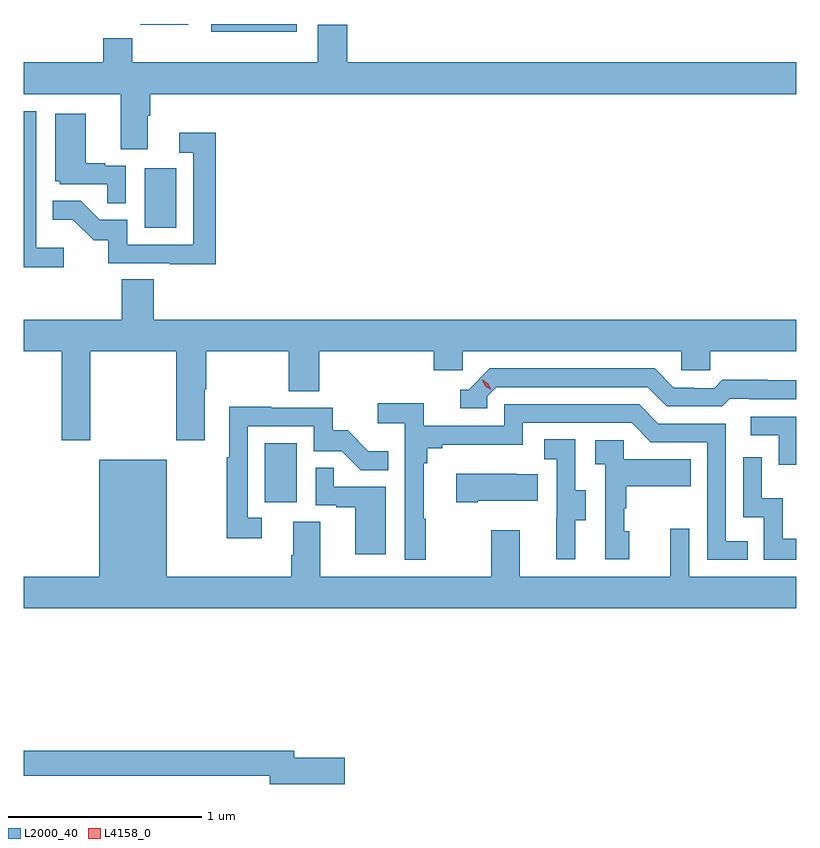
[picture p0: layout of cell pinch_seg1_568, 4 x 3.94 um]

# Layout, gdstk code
import gdstk
lib = gdstk.Library(unit=1e-6, precision=1e-09)
def R(c, l, rs):  # rectangles x0, y0, x1, y1
    for r in rs: c.add(gdstk.rectangle(r[:2], r[2:], *l))
def P(c, l, *ps):  # polygons
    for p in ps: c.add(gdstk.Polygon(p, *l))
L2000_40 = (2000, 40)
L4158_0 = (4158, 0)

pinch_seg1_568 = lib.new_cell('pinch_seg1_568')
R(pinch_seg1_568, L2000_40, [(1065.53,521.645,1065.694,521.953), (1064.906,523.068,1065.07,523.375), (1065.251,524.084,1065.694,524.123), (1064.884,524.118,1065.133,524.123)])
P(pinch_seg1_568, L2000_40, [(1064.923,523.648),(1064.936,523.648),(1064.936,523.76),(1068.281,523.76),(1068.281,523.924),(1065.956,523.924),(1065.956,524.119),(1065.803,524.119),(1065.803,523.924),(1064.843,523.924),(1064.843,524.048),(1064.692,524.048),(1064.692,523.924),(1064.281,523.924),(1064.281,523.76),(1064.783,523.76),(1064.783,523.474),(1064.923,523.474)],
  [(1064.488,522.964),(1064.346,522.964),(1064.346,523.672),(1064.281,523.672),(1064.281,522.862),(1064.488,522.862)],
  [(1064.808,523.389),(1064.702,523.389),(1064.702,523.402),(1064.602,523.402),(1064.602,523.657),(1064.444,523.657),(1064.444,523.308),(1064.466,523.308),(1064.466,523.293),(1064.713,523.293),(1064.713,523.195),(1064.808,523.195)],
  [(1065.275,523.561),(1065.087,523.561),(1065.087,523.455),(1065.159,523.455),(1065.159,522.981),(1064.817,522.981),(1064.817,523.11),(1064.673,523.11),(1064.575,523.208),(1064.431,523.208),(1064.431,523.109),(1064.535,523.109),(1064.642,523.002),(1064.719,523.002),(1064.719,522.885),(1065.037,522.885),(1065.037,522.88),(1065.275,522.88)],
  [(1064.625,522.428),(1065.07,522.428),(1065.07,521.967),(1065.217,521.967),(1065.217,522.232),(1065.225,522.232),(1065.225,522.428),(1065.652,522.428),(1065.652,522.22),(1065.812,522.22),(1065.812,522.428),(1066.403,522.428),(1066.403,522.33),(1066.554,522.33),(1066.554,522.428),(1067.685,522.428),(1067.685,522.33),(1067.835,522.33),(1067.835,522.428),(1068.281,522.428),(1068.281,522.592),(1064.954,522.592),(1064.954,522.8),(1064.789,522.8),(1064.789,522.592),(1064.281,522.592),(1064.281,522.428),(1064.477,522.428),(1064.477,521.967),(1064.625,521.967)],
  [(1066.68,522.195),(1066.728,522.243),(1067.511,522.243),(1067.61,522.144),(1067.899,522.144),(1067.938,522.183),(1068.037,522.183),(1068.037,522.18),(1068.281,522.18),(1068.281,522.277),(1068.132,522.277),(1068.132,522.28),(1067.899,522.28),(1067.857,522.237),(1067.754,522.237),(1067.754,522.24),(1067.647,522.24),(1067.548,522.339),(1066.695,522.339),(1066.584,522.228),(1066.541,522.228),(1066.541,522.132),(1066.68,522.132)],
  [(1066.363,521.561),(1066.351,521.561),(1066.351,521.849),(1066.37,521.849),(1066.37,521.926),(1066.447,521.926),(1066.447,521.945),(1066.866,521.945),(1066.866,522.057),(1067.43,522.057),(1067.529,521.958),(1067.82,521.958),(1067.82,521.349),(1068.029,521.349),(1068.029,521.445),(1067.916,521.445),(1067.916,522.054),(1067.566,522.054),(1067.467,522.153),(1066.77,522.153),(1066.77,522.042),(1066.352,522.042),(1066.352,522.158),(1066.113,522.158),(1066.113,522.056),(1066.254,522.056),(1066.254,521.349),(1066.363,521.349)],
  [(1065.514,521.565),(1065.441,521.565),(1065.441,522.039),(1065.783,522.039),(1065.783,521.91),(1065.927,521.91),(1066.025,521.812),(1066.169,521.812),(1066.169,521.911),(1066.065,521.911),(1065.958,522.018),(1065.882,522.018),(1065.882,522.135),(1065.563,522.135),(1065.563,522.14),(1065.345,522.14),(1065.345,521.879),(1065.333,521.879),(1065.333,521.46),(1065.514,521.46)],
  [(1068.281,522.09),(1068.045,522.09),(1068.045,521.994),(1068.192,521.994),(1068.192,521.841),(1068.281,521.841)],
  [(1067.137,521.554),(1067.191,521.554),(1067.191,521.709),(1067.136,521.709),(1067.136,521.972),(1066.977,521.972),(1066.977,521.869),(1067.04,521.869),(1067.04,521.565),(1067.039,521.565),(1067.039,521.352),(1067.137,521.352)],
  [(1067.416,521.496),(1067.391,521.496),(1067.391,521.615),(1067.401,521.615),(1067.401,521.729),(1067.735,521.729),(1067.735,521.869),(1067.388,521.869),(1067.388,521.967),(1067.241,521.967),(1067.241,521.843),(1067.292,521.843),(1067.292,521.352),(1067.416,521.352)],
  [(1068.281,521.458),(1068.212,521.458),(1068.212,521.666),(1068.102,521.666),(1068.102,521.878),(1068.006,521.878),(1068.006,521.568),(1068.114,521.568),(1068.114,521.349),(1068.281,521.349)],
  [(1068.281,521.26),(1067.727,521.26),(1067.727,521.509),(1067.63,521.509),(1067.63,521.26),(1066.849,521.26),(1066.849,521.5),(1066.702,521.5),(1066.702,521.26),(1065.817,521.26),(1065.817,521.546),(1065.677,521.546),(1065.677,521.372),(1065.665,521.372),(1065.665,521.26),(1065.022,521.26),(1065.022,521.866),(1064.672,521.866),(1064.672,521.26),(1064.281,521.26),(1064.281,521.096),(1068.281,521.096)],
  [(1066.156,521.727),(1065.887,521.727),(1065.887,521.825),(1065.792,521.825),(1065.792,521.631),(1065.899,521.631),(1065.899,521.619),(1065.998,521.619),(1065.998,521.376),(1066.156,521.376)],
  [(1066.633,521.654),(1066.943,521.654),(1066.943,521.791),(1066.835,521.791),(1066.835,521.794),(1066.521,521.794),(1066.521,521.647),(1066.633,521.647)],
  [(1065.943,520.322),(1065.682,520.322),(1065.682,520.358),(1064.281,520.358),(1064.281,520.23),(1065.554,520.23),(1065.554,520.187),(1065.943,520.187)])
P(pinch_seg1_568, L4158_0, [(1066.703,522.228),(1066.672,522.248),(1066.656,522.281),(1066.656,522.281),(1066.657,522.281),(1066.687,522.261),(1066.703,522.228),(1066.703,522.228)])

lib.write_gds('pinch_seg1_568.gds')
